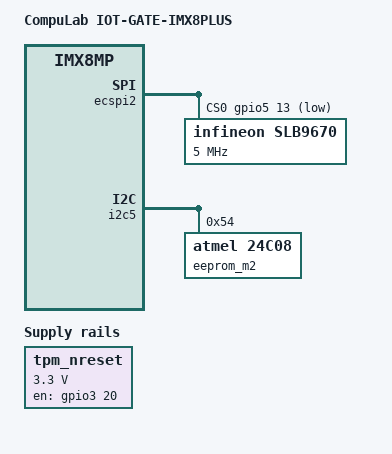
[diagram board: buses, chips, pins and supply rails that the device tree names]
// SPDX-License-Identifier: (GPL-2.0+ OR MIT)
/*
 * Copyright 2022 CompuLab
 */

#include "ucm-imx8m-plus.dtsi"
#include "sb-iotgimx8plus.dtsi"

/ {
	model = "CompuLab IOT-GATE-IMX8PLUS";
	compatible = "compulab,iot-gate-imx8plus", "compulab,ucm-imx8m-plus-som", "fsl,imx8mp";

	tpm_nreset: tpm-nreset {
		compatible = "regulator-fixed";
		regulator-name = "tpm-rst";
		regulator-min-microvolt = <3300000>;
		regulator-max-microvolt = <3300000>;
		gpio = <&gpio3 20 GPIO_ACTIVE_HIGH>;
		regulator-always-on;
		enable-active-high;
	};

};

&ecspi2 {

	#address-cells = <1>;
	#size-cells = <0>;
	pinctrl-names = "default";
	pinctrl-0 = <&pinctrl_ecspi2>;
	cs-gpios = <&gpio5 13 GPIO_ACTIVE_LOW>;
	status = "okay";

	slb9670: slb9670-ecspi2@0 {
		compatible = "infineon,slb9670", "tcg,tpm_tis-spi";
		reg = <0>;
		pinctrl-names = "default";
		pinctrl-0 = <&pinctrl_tpm_nrst>;
		spi-max-frequency = <5000000>;
		status = "okay";
	};
};

&iomuxc {

	pinctrl_tpm_nrst: tpmnrstgrp {
		fsl,pins = <
			MX8MP_IOMUXC_SAI5_RXC__GPIO3_IO20       0x19
			>;
	};

	pinctrl_ecspi2: ecspi2grp {
		fsl,pins = <
			MX8MP_IOMUXC_ECSPI2_SCLK__ECSPI2_SCLK   0x82
			MX8MP_IOMUXC_ECSPI2_MOSI__ECSPI2_MOSI   0x82
			MX8MP_IOMUXC_ECSPI2_MISO__ECSPI2_MISO   0x82
			MX8MP_IOMUXC_ECSPI2_SS0__GPIO5_IO13     0x40000
			>;
	};
};

&i2c5 {
	status = "okay";

	eeprom_m2: eeprom-i2c5@54 {
		compatible = "atmel,24c08";
		pagesize = <16>;
		reg = <0x54>;
		status = "okay";
	};
};

&i2c6 {
	status = "disabled";
};

&usdhc2 {
	status = "disabled";
};

